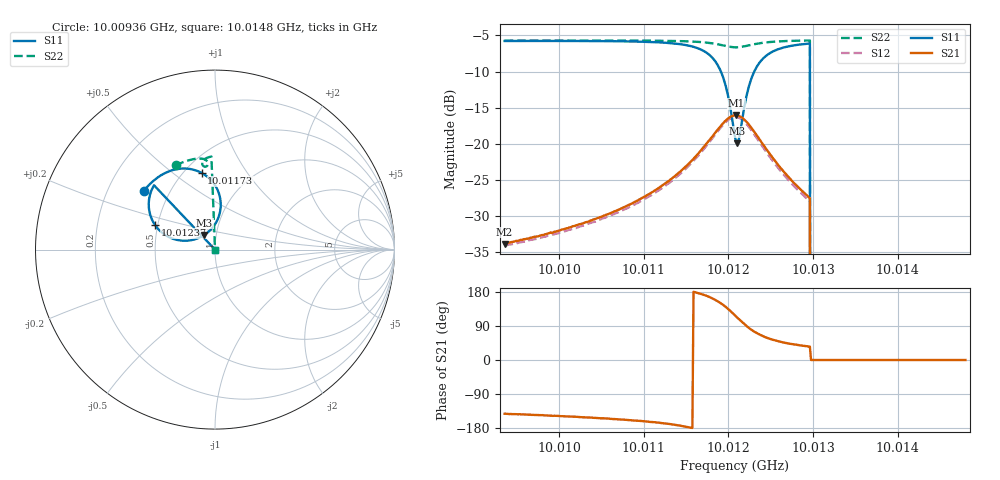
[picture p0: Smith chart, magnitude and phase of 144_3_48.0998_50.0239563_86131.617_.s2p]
#  HZ  S  RI  R  50.00
! Rohde & Schwarz Vector Network Analyzer
! Rohde-Schwarz,ZNB20-2Port,1311601062101988,3.16
! Created: UTC 12/23/2023, 3:49:06 AM
! freq[Hz]  re:S11  im:S11  re:S21  im:S21  re:S12  im:S12  re:S22  im:S22
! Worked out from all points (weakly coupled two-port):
!   401 points, 10.00936 GHz to 10.0148 GHz, reference 50 ohm
!   highest |S21| = -16.05 dB at 10.01209 GHz (marker M1); lowest = -33.8 dB at 10.00936 GHz (marker M2)
!   lowest |S11| = -19.9 dB at 10.01211 GHz (marker M3), VSWR 1.22, Z = 43.9 + j7.28 ohm
!   |S11| at or under -10 dB: 10.01191 GHz to 10.01231 GHz (394.4 kHz wide, 0.00394 % of centre); 10.01296 GHz to end of sweep
!   |S22| runs from - to -5.7 dB; largest |S21 - S12| = 0.0079
!   S11 on the Smith chart (normalised r, x): 10.00936 GHz: 0.36, +0.32; 10.01173 GHz: 0.61, +0.64; 10.01237 GHz: 0.48, +0.15; 10.0148 GHz: 1.00, +0.00
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1.0009358e10  -0.3979 0.3263  -0.016 -0.0126  -0.0147 -0.0129  -0.2198 0.4686
1.001027e10  -0.343 0.3832  -0.0245 -0.0136  -0.023 -0.0144  -0.1637 0.492
1.0010787e10  -0.297 0.4161  -0.0342 -0.0139  -0.0322 -0.015  -0.1291 0.5021
1.0011181e10  -0.2429 0.441  -0.0481 -0.0125  -0.0456 -0.0143  -0.1003 0.5069
1.0011494e10  -0.1693 0.4519  -0.0693 -0.00519  -0.0665 -0.00868  -0.0741 0.5069
1.0011726e10  -0.0742 0.4272  -0.0961 0.0156  -0.0937 0.0103  -0.0525 0.4999
1.0011848e10  -0.00865 0.3708  -0.1113 0.0442  -0.1104 0.0373  -0.042 0.4897
1.001193e10  0.0262 0.2975  -0.1149 0.0744  -0.1155 0.0672  -0.0391 0.4792
1.0011998e10  0.0286 0.2125  -0.1057 0.1062  -0.1074 0.0991  -0.0414 0.4697
1.001208e10  -0.0264 0.1081  -0.073 0.1395  -0.0769 0.1326  -0.0512 0.4622
1.0012093e10  -0.0419 0.0942  -0.0659 0.1431  -0.07 0.1363  -0.0534 0.462
1.0012107e10  -0.0586 0.082  -0.0583 0.1457  -0.0624 0.1394  -0.0554 0.4619
1.0012134e10  -0.095 0.0631  -0.0433 0.149  -0.0466 0.1433  -0.0598 0.4627
1.0012243e10  -0.2408 0.0628  0.0125 0.1356  0.00699 0.1309  -0.0704 0.4746
1.0012297e10  -0.2928 0.0926  0.0295 0.12  0.0245 0.116  -0.071 0.4824
1.0012365e10  -0.3347 0.1378  0.041 0.1003  0.0358 0.0972  -0.0686 0.491
1.001257e10  -0.3693 0.2513  0.0466 0.0574  0.0424 0.0565  -0.053 0.5072
1.0012937e10  -0.3426 0.354  0.0353 0.0257  0.0323 0.0259  -0.0222 0.518
1.0012992e10  0 0  0 0  0 0  0 0
1.0013005e10  0 0  0 0  0 0  0 0
1.0013903e10  0 0  0 0  0 0  0 0
1.0014802e10  0 0  0 0  0 0  0 0
